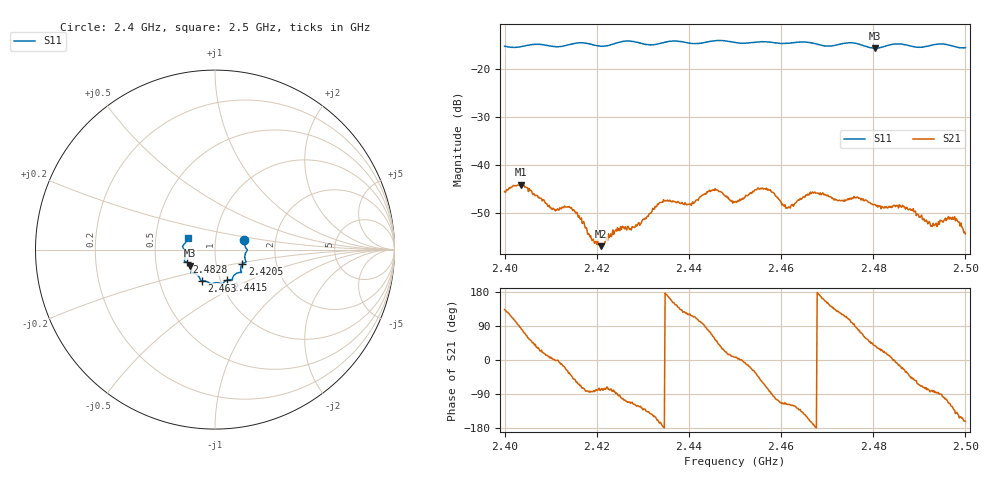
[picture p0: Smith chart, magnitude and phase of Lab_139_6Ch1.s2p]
# Hz S RI R 50
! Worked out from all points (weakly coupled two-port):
!   601 points, 2.4 GHz to 2.5 GHz, reference 50 ohm
!   highest |S21| = -44.17 dB at 2.4035 GHz (marker M1); lowest = -57.0 dB at 2.4208 GHz (marker M2)
!   lowest |S11| = -15.7 dB at 2.4803 GHz (marker M3), VSWR 1.39, Z = 37.4 - j6.85 ohm
!   |S11| at or under -10 dB: start of sweep to end of sweep
!   S12 and S22 are empty: the file has one direction only
!   S11 on the Smith chart (normalised r, x): 2.4 GHz: 1.38, +0.15; 2.4205 GHz: 1.34, -0.23; 2.4415 GHz: 1.07, -0.38; 2.463 GHz: 0.82, -0.29; 2.4828 GHz: 0.72, -0.10; 2.5 GHz: 0.73, +0.10
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2.4e9  0.1636 0.052  -0.00359 0.00385  0 0  0 0
2.4035e9  0.1692 0.0142  0.000557 0.00616  0 0  0 0
2.416667e9  0.173 -0.0699  0.000894 -0.00265  0 0  0 0
2.4205e9  0.152 -0.0818  0.000396 -0.00141  0 0  0 0
2.420833e9  0.15 -0.0843  0.000242 -0.0014  0 0  0 0
2.424e9  0.1438 -0.1145  0.000196 -0.00205  0 0  0 0
2.429167e9  0.1362 -0.1275  -0.00136 -0.00209  0 0  0 0
2.433333e9  0.1004 -0.1517  -0.0036 -0.00137  0 0  0 0
2.4415e9  0.0656 -0.1706  -0.00152 0.00399  0 0  0 0
2.445667e9  0.0419 -0.1919  0.0033 0.00458  0 0  0 0
2.45e9  0.0242 -0.1863  0.00409 0.000523  0 0  0 0
2.4555e9  -0.0193 -0.1906  0.00342 -0.00447  0 0  0 0
2.461e9  -0.0562 -0.175  -0.00156 -0.00319  0 0  0 0
2.463e9  -0.072 -0.1737  -0.00209 -0.00337  0 0  0 0
2.466667e9  -0.0821 -0.167  -0.00497 -0.00126  0 0  0 0
2.480333e9  -0.1377 -0.0891  0.00302 0.0024  0 0  0 0
2.482833e9  -0.1586 -0.0701  0.00348 0.00115  0 0  0 0
2.483333e9  -0.1624 -0.068  0.00356 0.000757  0 0  0 0
2.4885e9  -0.1659 -0.0412  0.00215 -0.00253  0 0  0 0
2.492833e9  -0.1768 0.00859  0.00039 -0.00224  0 0  0 0
2.497667e9  -0.1665 0.0355  -0.00194 -0.00212  0 0  0 0
2.5e9  -0.1528 0.0644  -0.00181 -0.000607  0 0  0 0
